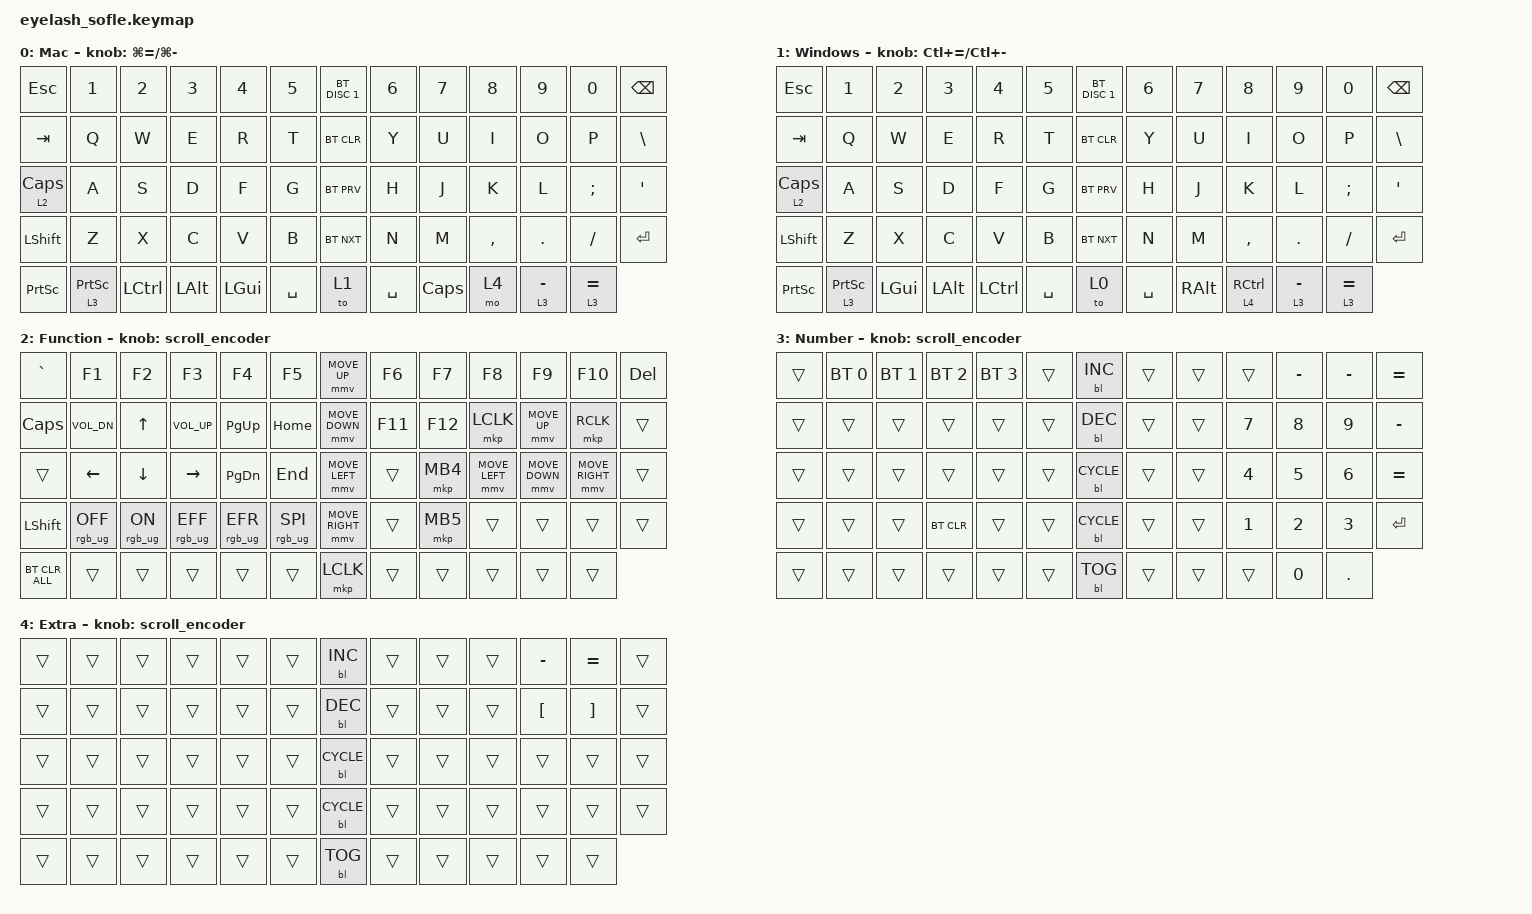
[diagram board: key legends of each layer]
#define ZMK_POINTING_DEFAULT_MOVE_VAL 1200  // 600
#define ZMK_POINTING_DEFAULT_SCRL_VAL 25   // 10

#include <input/processors.dtsi>
#include <zephyr/dt-bindings/input/input-event-codes.h>
#include <behaviors.dtsi>
#include <dt-bindings/zmk/backlight.h>
#include <dt-bindings/zmk/bt.h>
#include <dt-bindings/zmk/keys.h>
#include <dt-bindings/zmk/pointing.h>
#include <dt-bindings/zmk/rgb.h>

&mmv_input_listener { input-processors = <&zip_xy_scaler 2 1>; };

&msc_input_listener { input-processors = <&zip_scroll_scaler 2 1>; };

&msc {
    acceleration-exponent = <1>;      // 0
    time-to-max-speed-ms = <100>;       // 300
    delay-ms = <0>;                   // 0
};

&mmv {
    time-to-max-speed-ms = <500>;
    acceleration-exponent = <1>;
    trigger-period-ms = <16>;
};

&soft_off { hold-time-ms = <2000>; };

/ {
    scroll_encoder: scroll_encoder {
        compatible = "zmk,behavior-sensor-rotate";
        #sensor-binding-cells = <0>;
        bindings = <&msc SCRL_DOWN>, <&msc SCRL_UP>;

        tap-ms = <100>;
    };

    behaviors {
    };

    combos {
        compatible = "zmk,combos";

        softoff {
            bindings = <&soft_off>;
            key-positions = <14 28 40>;
        };
    };

    keymap {
        compatible = "zmk,keymap";

        Mac {
            bindings = <
&kp ESC          &kp N1             &kp N2     &kp N3    &kp N4    &kp N5       &bt BT_DISC 1  &kp N6     &kp N7    &kp N8     &kp N9       &kp N0       &kp BSPC
&kp TAB          &kp Q              &kp W      &kp E     &kp R     &kp T        &bt BT_CLR     &kp Y      &kp U     &kp I      &kp O        &kp P        &kp BSLH
&lt 2 CAPS       &kp A              &kp S      &kp D     &kp F     &kp G        &bt BT_PRV     &kp H      &kp J     &kp K      &kp L        &kp SEMI     &kp SQT
&kp LSHFT        &kp Z              &kp X      &kp C     &kp V     &kp B        &bt BT_NXT     &kp N      &kp M     &kp COMMA  &kp DOT      &kp FSLH     &kp ENTER
&kp PRINTSCREEN  &lt 3 PRINTSCREEN  &kp LCTRL  &kp LALT  &kp LGUI  &kp SPACE    &to 1          &kp SPACE  &kp CAPS  &mo 4      &lt 3 MINUS  &lt 3 EQUAL
            >;

            display-name = "Mac";
            sensor-bindings = <&inc_dec_kp LG(EQUAL) LG(MINUS)>;
        };

        Windows {
            bindings = <
&kp ESC          &kp N1             &kp N2        &kp N3        &kp N4            &kp N5       &bt BT_DISC 1  &kp N6     &kp N7    &kp N8               &kp N9       &kp N0       &kp BACKSPACE
&kp TAB          &kp Q              &kp W         &kp E         &kp R             &kp T        &bt BT_CLR     &kp Y      &kp U     &kp I                &kp O        &kp P        &kp BSLH
&lt 2 CAPS       &kp A              &kp S         &kp D         &kp F             &kp G        &bt BT_PRV     &kp H      &kp J     &kp K                &kp L        &kp SEMI     &kp APOS
&kp LSHFT        &kp Z              &kp X         &kp C         &kp V             &kp B        &bt BT_NXT     &kp N      &kp M     &kp COMMA            &kp DOT      &kp FSLH     &kp ENTER
&kp PRINTSCREEN  &lt 3 PRINTSCREEN  &kp LEFT_GUI  &kp LEFT_ALT  &kp LEFT_CONTROL  &kp SPACE    &to 0          &kp SPACE  &kp RALT  &lt 4 RIGHT_CONTROL  &lt 3 MINUS  &lt 3 EQUAL
            >;

            sensor-bindings = <&inc_dec_kp LC(EQUAL) LC(MINUS)>;
            display-name = "Windows";
        };

        Function {
            bindings = <
&kp GRAVE       &kp F1           &kp F2          &kp F3           &kp F4           &kp F5             &mmv MOVE_UP     &kp F6   &kp F7    &kp F8          &kp F9          &kp F10          &kp DEL
&kp CAPS        &kp C_VOL_DN     &kp UP_ARROW    &kp C_VOL_UP     &kp PAGE_UP      &kp HOME           &mmv MOVE_DOWN   &kp F11  &kp F12   &mkp LCLK       &mmv MOVE_UP    &mkp RCLK        &trans
&trans          &kp LEFT_ARROW   &kp DOWN_ARROW  &kp RIGHT_ARROW  &kp PAGE_DOWN    &kp END            &mmv MOVE_LEFT   &trans   &mkp MB4  &mmv MOVE_LEFT  &mmv MOVE_DOWN  &mmv MOVE_RIGHT  &trans
&kp LEFT_SHIFT  &rgb_ug RGB_OFF  &rgb_ug RGB_ON  &rgb_ug RGB_EFF  &rgb_ug RGB_EFR  &rgb_ug RGB_SPI    &mmv MOVE_RIGHT  &trans   &mkp MB5  &trans          &trans          &trans           &trans
&bt BT_CLR_ALL  &trans           &trans          &trans           &trans           &trans             &mkp LCLK        &trans   &trans    &trans          &trans          &trans
            >;

            display-name = "Function";
            sensor-bindings = <&scroll_encoder>;
        };

        Number {
            bindings = <
&trans  &bt BT_SEL 0  &bt BT_SEL 1  &bt BT_SEL 2  &bt BT_SEL 3  &trans    &bl BL_INC    &trans  &trans  &trans  &kp MINUS  &kp MINUS  &kp EQUAL
&trans  &trans        &trans        &trans        &trans        &trans    &bl BL_DEC    &trans  &trans  &kp N7  &kp N8     &kp N9     &kp MINUS
&trans  &trans        &trans        &trans        &trans        &trans    &bl BL_CYCLE  &trans  &trans  &kp N4  &kp N5     &kp N6     &kp EQUAL
&trans  &trans        &trans        &bt BT_CLR    &trans        &trans    &bl BL_CYCLE  &trans  &trans  &kp N1  &kp N2     &kp N3     &kp RET
&trans  &trans        &trans        &trans        &trans        &trans    &bl BL_TOG    &trans  &trans  &trans  &kp N0     &kp DOT
            >;

            display-name = "Number";
            sensor-bindings = <&scroll_encoder>;
        };

        Extra {
            bindings = <
&trans  &trans  &trans  &trans  &trans  &trans    &bl BL_INC    &trans  &trans  &trans  &kp MINUS         &kp EQUAL  &trans
&trans  &trans  &trans  &trans  &trans  &trans    &bl BL_DEC    &trans  &trans  &trans  &kp LEFT_BRACKET  &kp RBKT   &trans
&trans  &trans  &trans  &trans  &trans  &trans    &bl BL_CYCLE  &trans  &trans  &trans  &trans            &trans     &trans
&trans  &trans  &trans  &trans  &trans  &trans    &bl BL_CYCLE  &trans  &trans  &trans  &trans            &trans     &trans
&trans  &trans  &trans  &trans  &trans  &trans    &bl BL_TOG    &trans  &trans  &trans  &trans            &trans
            >;

            display-name = "Extra";
            sensor-bindings = <&scroll_encoder>;
        };
    };
};
